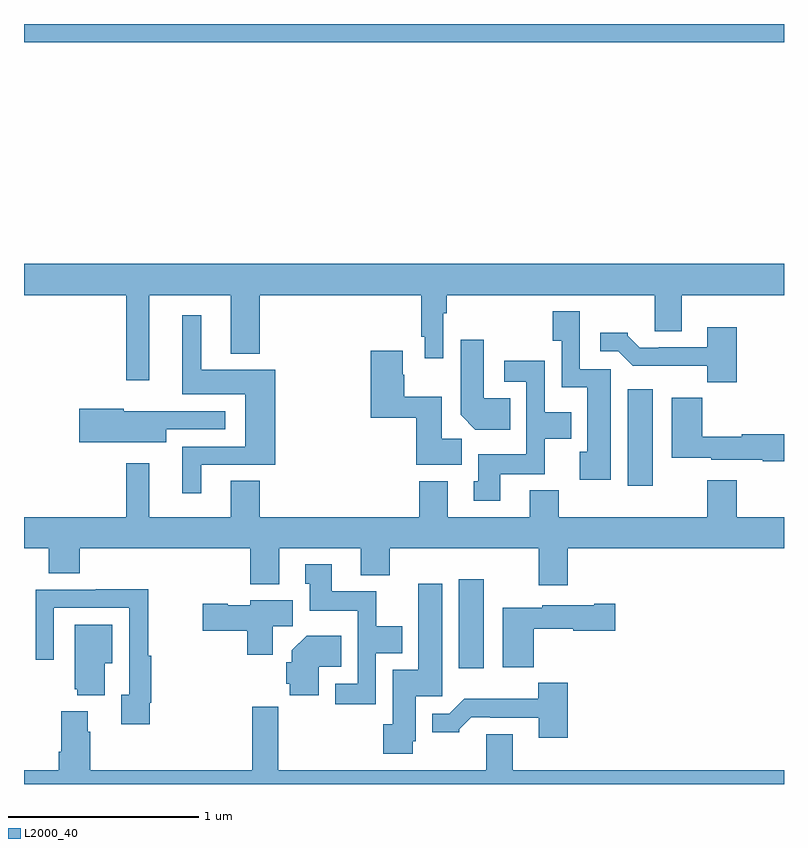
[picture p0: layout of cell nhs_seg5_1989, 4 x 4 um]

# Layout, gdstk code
import gdstk
lib = gdstk.Library(unit=1e-6, precision=1e-09)
def R(c, l, rs):  # rectangles x0, y0, x1, y1
    for r in rs: c.add(gdstk.rectangle(r[:2], r[2:], *l))
def P(c, l, *ps):  # polygons
    for p in ps: c.add(gdstk.Polygon(p, *l))
L2000_40 = (2000, 40)

nhs_seg5_1989 = lib.new_cell('nhs_seg5_1989')
R(nhs_seg5_1989, L2000_40, [(229.289,909.408,229.42,909.877), (230.177,910.368,230.308,910.876), (227,912.704,231,912.799)])
P(nhs_seg5_1989, L2000_40, [(227.659,911.372),(228.089,911.372),(228.089,911.063),(228.242,911.063),(228.242,911.372),(229.09,911.372),(229.09,911.152),(229.11,911.152),(229.11,911.04),(229.206,911.04),(229.206,911.276),(229.226,911.276),(229.226,911.372),(230.321,911.372),(230.321,911.182),(230.461,911.182),(230.461,911.372),(231,911.372),(231,911.536),(227,911.536),(227,911.372),(227.538,911.372),(227.538,910.923),(227.659,910.923)],
  [(230.089,910.983),(229.926,910.983),(229.926,911.287),(229.783,911.287),(229.783,911.131),(229.83,911.131),(229.83,910.886),(229.964,910.886),(229.964,910.547),(229.925,910.547),(229.925,910.4),(230.089,910.4)],
  [(227.932,910.479),(228.323,910.479),(228.323,910.978),(227.932,910.978),(227.932,911.266),(227.834,911.266),(227.834,910.85),(228.164,910.85),(228.164,910.575),(227.834,910.575),(227.834,910.329),(227.932,910.329)],
  [(230.75,911.203),(230.597,911.203),(230.597,911.097),(230.341,911.097),(230.341,911.094),(230.242,911.094),(230.178,911.158),(230.178,911.173),(230.034,911.173),(230.034,911.076),(230.127,911.076),(230.203,911),(230.595,911),(230.595,910.913),(230.75,910.913)],
  [(229.559,910.828),(229.42,910.828),(229.42,911.137),(229.298,911.137),(229.298,910.742),(229.376,910.664),(229.559,910.664)],
  [(229.303,910.616),(229.198,910.616),(229.198,910.837),(229.002,910.837),(229.002,910.952),(228.994,910.952),(228.994,911.08),(228.824,911.08),(228.824,910.727),(229.064,910.727),(229.064,910.478),(229.303,910.478)],
  [(229.507,910.43),(229.742,910.43),(229.742,910.617),(229.879,910.617),(229.879,910.756),(229.74,910.756),(229.74,911.026),(229.527,911.026),(229.527,910.917),(229.644,910.917),(229.644,910.534),(229.391,910.534),(229.391,910.392),(229.367,910.392),(229.367,910.29),(229.507,910.29)],
  [(231,910.64),(230.778,910.64),(230.778,910.627),(230.57,910.627),(230.57,910.831),(230.408,910.831),(230.408,910.517),(230.616,910.517),(230.616,910.505),(230.888,910.505),(230.888,910.498),(231,910.498)],
  [(227.749,910.665),(228.058,910.665),(228.058,910.761),(227.745,910.761),(227.745,910.762),(227.526,910.762),(227.526,910.775),(227.292,910.775),(227.292,910.597),(227.749,910.597)],
  [(229.862,910.04),(231,910.04),(231,910.204),(230.75,910.204),(230.75,910.399),(230.597,910.399),(230.597,910.204),(229.814,910.204),(229.814,910.345),(229.661,910.345),(229.661,910.204),(229.231,910.204),(229.231,910.393),(229.079,910.393),(229.079,910.204),(228.242,910.204),(228.242,910.394),(228.089,910.394),(228.089,910.204),(227.659,910.204),(227.659,910.486),(227.538,910.486),(227.538,910.204),(227,910.204),(227,910.04),(227.129,910.04),(227.129,909.907),(227.294,909.907),(227.294,910.04),(228.191,910.04),(228.191,909.851),(228.343,909.851),(228.343,910.04),(228.773,910.04),(228.773,909.899),(228.926,909.899),(228.926,910.04),(229.709,910.04),(229.709,909.846),(229.862,909.846)],
  [(228.852,909.488),(228.991,909.488),(228.991,909.628),(228.855,909.628),(228.855,909.814),(228.619,909.814),(228.619,909.955),(228.479,909.955),(228.479,909.852),(228.503,909.852),(228.503,909.71),(228.756,909.71),(228.756,909.327),(228.639,909.327),(228.639,909.219),(228.852,909.219)],
  [(229.047,909.024),(229.063,909.024),(229.063,909.261),(229.201,909.261),(229.201,909.853),(229.076,909.853),(229.076,909.4),(228.941,909.4),(228.941,909.114),(228.89,909.114),(228.89,908.958),(229.047,908.958)],
  [(227.662,909.226),(227.669,909.226),(227.669,909.473),(227.654,909.473),(227.654,909.824),(227.377,909.824),(227.377,909.822),(227.061,909.822),(227.061,909.453),(227.157,909.453),(227.157,909.726),(227.553,909.726),(227.553,909.27),(227.513,909.27),(227.513,909.114),(227.662,909.114)],
  [(228.309,909.628),(228.415,909.628),(228.415,909.766),(228.192,909.766),(228.192,909.739),(228.072,909.739),(228.072,909.747),(227.94,909.747),(227.94,909.605),(228.176,909.605),(228.176,909.48),(228.309,909.48)],
  [(229.682,909.617),(229.89,909.617),(229.89,909.605),(230.113,909.605),(230.113,909.747),(230,909.747),(230,909.739),(229.728,909.739),(229.728,909.727),(229.52,909.727),(229.52,909.413),(229.682,909.413)],
  [(227.425,909.434),(227.464,909.434),(227.464,909.637),(227.267,909.637),(227.267,909.297),(227.279,909.297),(227.279,909.266),(227.425,909.266)],
  [(228.55,909.416),(228.671,909.416),(228.671,909.58),(228.488,909.58),(228.41,909.502),(228.41,909.441),(228.381,909.441),(228.381,909.327),(228.398,909.327),(228.398,909.266),(228.55,909.266)],
  [(229.862,909.331),(229.707,909.331),(229.707,909.247),(229.318,909.247),(229.239,909.168),(229.148,909.168),(229.148,909.071),(229.29,909.071),(229.29,909.086),(229.354,909.15),(229.453,909.15),(229.453,909.147),(229.709,909.147),(229.709,909.042),(229.862,909.042)],
  [(229.433,909.062),(229.433,908.872),(228.338,908.872),(228.338,909.205),(228.202,909.205),(228.202,908.872),(227.348,908.872),(227.348,909.074),(227.335,909.074),(227.335,909.181),(227.195,909.181),(227.195,908.968),(227.183,908.968),(227.183,908.872),(227,908.872),(227,908.799),(231,908.799),(231,908.872),(229.573,908.872),(229.573,909.062)])

lib.write_gds('nhs_seg5_1989.gds')
